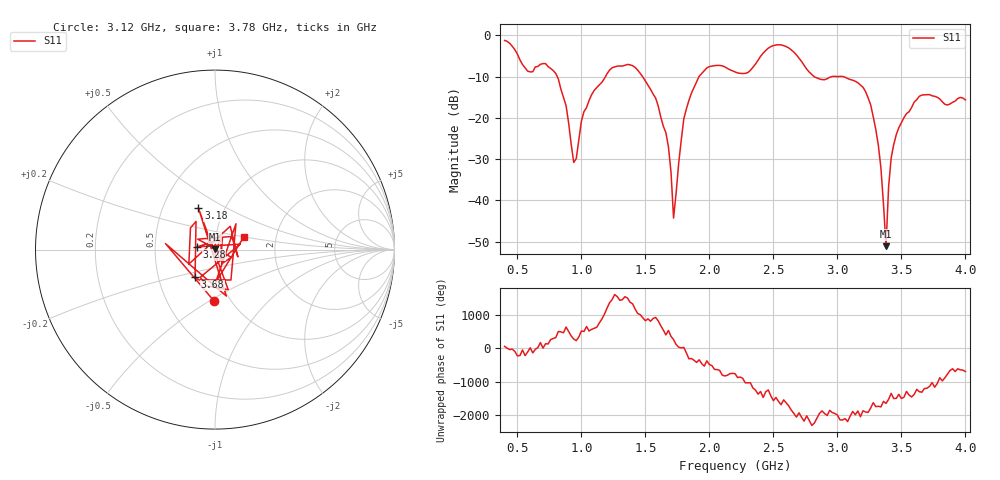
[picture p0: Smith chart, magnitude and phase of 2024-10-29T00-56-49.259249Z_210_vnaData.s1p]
!Created with skrf (http://scikit-rf.org).
# Hz S RI R 50.0
!freq ReS11 ImS11
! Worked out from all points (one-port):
!   181 points, 400 MHz to 4 GHz, reference 50 ohm
!   lowest |S11| = -51.1 dB at 3.38 GHz (marker M1), VSWR 1.01, Z = 49.8 + j0.141 ohm
!   |S11| at or under -10 dB: 811.3 MHz to 1.188 GHz (376.4 MHz wide, 37.7 % of centre); 1.478 GHz to 1.919 GHz (440.9 MHz wide, 26 % of centre); 3.045 GHz to end of sweep (the widest 3 of 4)
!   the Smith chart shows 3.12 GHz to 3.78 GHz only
!   S11 on the Smith chart (normalised r, x): 3.12 GHz: 0.84, -0.52; 3.18 GHz: 0.75, +0.37; 3.28 GHz: 0.81, +0.03; 3.68 GHz: 0.77, -0.25; 3.78 GHz: 1.37, +0.21
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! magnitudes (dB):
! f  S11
! 400 MHz  -1.2
! 580 MHz  -8.7
! 780 MHz  -8.5
! 860 MHz  -15.1
! 940 MHz  -30.8
! 1.08 GHz  -14.4
! 1.3 GHz  -7.4
! 1.58 GHz  -15.2
! 1.68 GHz  -27.0
! 1.72 GHz  -44.3
! 1.76 GHz  -31.0
! 1.8 GHz  -20.2
! 1.92 GHz  -9.9
! 2.2 GHz  -8.9
! 2.66 GHz  -4.1
! 2.82 GHz  -10.1
! 3.1 GHz  -10.7
! 3.12 GHz  -10.9
! 3.18 GHz  -12.0
! 3.28 GHz  -19.7
! 3.34 GHz  -32.1
! 3.38 GHz  -51.1
! 3.4 GHz  -36.7
! 3.42 GHz  -29.7
! 3.56 GHz  -18.5
! 3.68 GHz  -14.4
! 3.78 GHz  -15.0
! 4 GHz  -15.6
